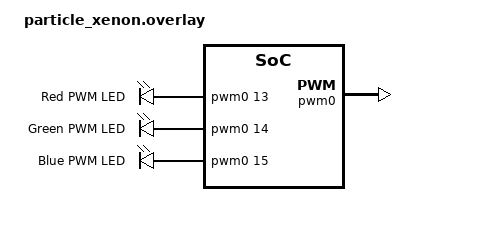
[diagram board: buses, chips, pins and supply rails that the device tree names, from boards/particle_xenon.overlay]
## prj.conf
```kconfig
CONFIG_LOG=y

CONFIG_PWM=y

CONFIG_LED=y
CONFIG_LED_PWM=y

# Enable Zephyr application to be booted by MCUboot
CONFIG_BOOTLOADER_MCUBOOT=y
```

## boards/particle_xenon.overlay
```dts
/ {
    pwmleds {
        compatible = "pwm-leds";
        status = "okay";

        red_pwm_led: led_pwm_0 {
            status = "okay";
            pwms = <&pwm0 13>;
            label = "Red PWM LED";
        };

        green_pwm_led: led_pwm_1 {
            status = "okay";
            pwms = <&pwm0 14>;
            label = "Green PWM LED";
        };

        blue_pwm_led: led_pwm_2 {
            status = "okay";
            pwms = <&pwm0 15>;
            label = "Blue PWM LED";
        };
    };
};

&pwm0 {
    status = "okay";
    ch0-pin = <13>;
    ch0-inverted;
    ch1-pin = <14>;
    ch1-inverted;
    ch2-pin = <15>;
    ch2-inverted;
};
```

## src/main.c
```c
/*
 * Copyright (c) 2020 Seagate Technology LLC
 *
 * SPDX-License-Identifier: Apache-2.0
 */

#include <errno.h>

#include <zephyr/device.h>
#include <zephyr/drivers/led.h>
#include <zephyr/sys/util.h>
#include <zephyr/kernel.h>

#include <zephyr/logging/log.h>
LOG_MODULE_REGISTER(main, CONFIG_LOG_DEFAULT_LEVEL);

#if DT_NODE_HAS_STATUS(DT_INST(0, pwm_leds), okay)
#define LED_PWM_NODE_ID DT_INST(0, pwm_leds)
#define LED_PWM_DEV_NAME DEVICE_DT_NAME(LED_PWM_NODE_ID)
#else
#error "No LED PWM device found"
#endif

#define LED_PWM_LABEL(led_node_id) DT_PROP_OR(led_node_id, label, NULL),

const char *led_label[] = {
	DT_FOREACH_CHILD(LED_PWM_NODE_ID, LED_PWM_LABEL)};

const int num_leds = ARRAY_SIZE(led_label);

#define MAX_BRIGHTNESS 100

#define FADE_DELAY_MS 10
#define FADE_DELAY K_MSEC(FADE_DELAY_MS)

/**
 * @brief Run tests on a single LED using the LED API syscalls.
 *
 * @param led_pwm LED PWM device.
 * @param led Number of the LED to test.
 */
static void run_led_test(const struct device *led_pwm, uint8_t led)
{
	int err;
	uint16_t level;

	LOG_INF("Testing LED %d - %s", led, led_label[led] ?: "no label");

	/* Turn LED on. */
	err = led_on(led_pwm, led);
	if (err < 0)
	{
		LOG_ERR("err=%d", err);
		return;
	}
	LOG_INF("  Turned on");
	k_sleep(K_MSEC(1000));

	/* Turn LED off. */
	err = led_off(led_pwm, led);
	if (err < 0)
	{
		LOG_ERR("err=%d", err);
		return;
	}
	LOG_INF("  Turned off");
	k_sleep(K_MSEC(1000));

	/* Increase LED brightness gradually up to the maximum level. */
	LOG_INF("  Increasing brightness gradually");
	for (level = 0; level <= MAX_BRIGHTNESS; level++)
	{
		err = led_set_brightness(led_pwm, led, level);
		if (err < 0)
		{
			LOG_ERR("err=%d brightness=%d\n", err, level);
			return;
		}
		k_sleep(FADE_DELAY);
	}
	k_sleep(K_MSEC(1000));

	/* Set LED blinking (on: 0.1 sec, off: 0.1 sec) */
	err = led_blink(led_pwm, led, 100, 100);
	if (err < 0)
	{
		LOG_ERR("err=%d", err);
		return;
	}
	LOG_INF("  Blinking on: 0.1 sec, off: 0.1 sec");
	k_sleep(K_MSEC(5000));

	/* Enable LED blinking (on: 1 sec, off: 1 sec) */
	err = led_blink(led_pwm, led, 1000, 1000);
	if (err < 0)
	{
		LOG_ERR("err=%d", err);
		LOG_INF("  Cycle period not supported - on: 1 sec, off: 1 sec");
	}
	else
	{
		LOG_INF("  Blinking on: 1 sec, off: 1 sec");
	}
	k_sleep(K_MSEC(5000));

	/* Turn LED off. */
	err = led_off(led_pwm, led);
	if (err < 0)
	{
		LOG_ERR("err=%d", err);
		return;
	}
	LOG_INF("  Turned off, loop end");
}

void main(void)
{
	const struct device *led_pwm;
	uint8_t led;

	led_pwm = device_get_binding(LED_PWM_DEV_NAME);
	if (led_pwm)
	{
		LOG_INF("Found device %s", LED_PWM_DEV_NAME);
	}
	else
	{
		LOG_ERR("Device %s not found", LED_PWM_DEV_NAME);
		return;
	}

	if (!num_leds)
	{
		LOG_ERR("No LEDs found for %s", LED_PWM_DEV_NAME);
		return;
	}

	do
	{
		for (led = 0; led < num_leds; led++)
		{
			run_led_test(led_pwm, led);
		}
	} while (true);
}
```
